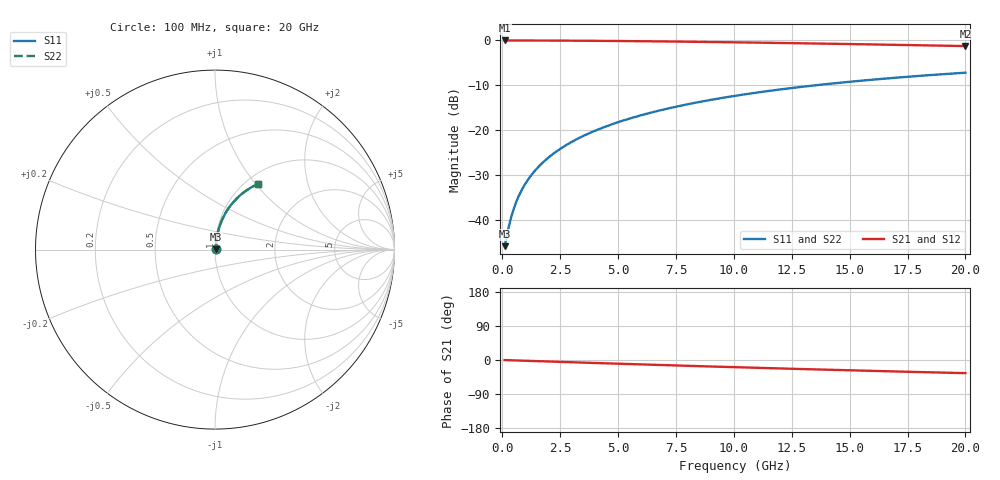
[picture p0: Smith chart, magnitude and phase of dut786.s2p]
! Touchstone file exported from HFSS 2024.1.0
!  File:  C:/UserFiles/LocalFiles/RDL_TSV_Batchsim/temp_RDL_bottom_786_1779861292.aedt
!  Generated:  01:57:09 PM May 27, 2026
!  Design:  RDL_bottom
!  Project:  temp_RDL_bottom_786_1779861292
!  Setup:  Setup1
!  Solution:  Sweep
! Variables:
!  dtsv = 10.80580581um
!  hbump = 3um
!  htsv = 52.17um
!  ldown = 399.87um
!  lrdl = 100um
!  p = 40
!  p1 = 51.33um
!  rhole = 1um
!  t = 450um
!  tdown = 3.14um
!  trdl = 3.915915916um
!  wdown = 10.51um
!  wrdl = 20um
# GHz S MA R 50.000000
! Terminal data exported
! Port[1] = RDL1_T1
! Port[2] = RDL1_T2
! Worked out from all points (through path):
!   200 points, 100 MHz to 20 GHz, reference 50 ohm
!   highest |S21| = -0.04 dB at 100 MHz (marker M1); lowest = -1.3 dB at 20 GHz (marker M2)
!   group delay of S21, straight-line fit = 4.83 ps
!   lowest |S11| = -45.9 dB at 100 MHz (marker M3), VSWR 1.01, Z = 50.4 + j0.254 ohm
!   |S11| at or under -10 dB: start of sweep to 13.59 GHz
!   |S22| runs from -45.9 to -7.2 dB; largest |S21 - S12| = 2.6e-15
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0.1  0.005049 29.9  0.9956 -0.2  0.9956 -0.2  0.005049 29.9
! Gamma 0 0 0 0
! Port Impedance 50 0 50 0
0.3  0.008767 59.1  0.9955 -0.6  0.9955 -0.6  0.008767 59.1
0.4  0.01101 65.2  0.9954 -0.8  0.9954 -0.8  0.01101 65.2
0.5  0.01333 69.2  0.9953 -1.0  0.9953 -1.0  0.01333 69.2
0.6  0.01568 71.9  0.9952 -1.2  0.9952 -1.2  0.01568 71.9
0.7  0.01806 73.9  0.9951 -1.4  0.9951 -1.4  0.01806 73.9
0.9  0.02283 76.5  0.9948 -1.8  0.9948 -1.8  0.02283 76.5
1.2  0.03003 78.8  0.9944 -2.4  0.9944 -2.4  0.03003 78.8
1.4  0.03484 79.7  0.994 -2.8  0.994 -2.8  0.03484 79.7
1.7  0.04208 80.5  0.9935 -3.4  0.9935 -3.4  0.04208 80.5
2.2  0.05418 81.2  0.9924 -4.4  0.9924 -4.4  0.05418 81.2
2.8  0.06872 81.3  0.9907 -5.5  0.9907 -5.5  0.06872 81.3
3.5  0.08569 80.9  0.9884 -6.9  0.9884 -6.9  0.08569 80.9
4.2  0.1026 80.3  0.9856 -8.3  0.9856 -8.3  0.1026 80.3
5  0.122 79.4  0.9819 -9.8  0.9819 -9.8  0.122 79.4
5.9  0.1436 78.3  0.9772 -11.5  0.9772 -11.5  0.1436 78.3
6.8  0.165 77.0  0.972 -13.2  0.972 -13.2  0.165 77.0
8.3  0.2001 74.7  0.9622 -15.9  0.9622 -15.9  0.2001 74.7
10.1  0.2412 71.9  0.949 -19.1  0.949 -19.1  0.2412 71.9
13.4  0.3122 66.8  0.922 -24.6  0.922 -24.6  0.3123 66.8
16.7  0.377 61.7  0.8926 -29.8  0.8926 -29.8  0.377 61.7
20  0.4349 56.9  0.862 -34.7  0.862 -34.7  0.4349 56.9
